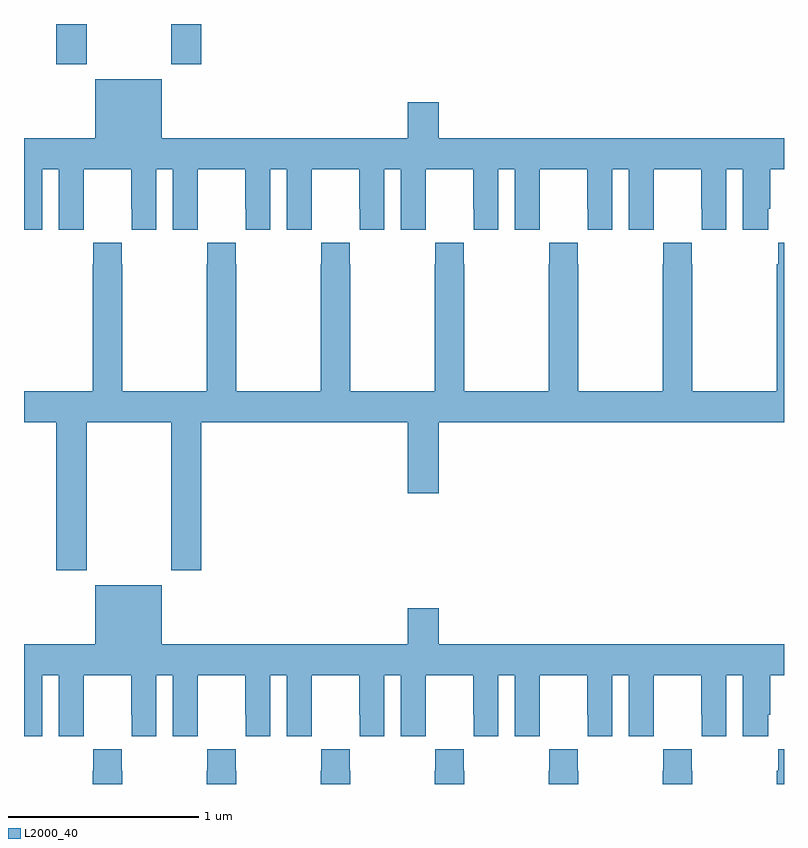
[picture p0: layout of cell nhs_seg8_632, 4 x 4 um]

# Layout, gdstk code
import gdstk
lib = gdstk.Library(unit=1e-6, precision=1e-09)
def R(c, l, rs):  # rectangles x0, y0, x1, y1
    for r in rs: c.add(gdstk.rectangle(r[:2], r[2:], *l))
def P(c, l, *ps):  # polygons
    for p in ps: c.add(gdstk.Polygon(p, *l))
L2000_40 = (2000, 40)

nhs_seg8_632 = lib.new_cell('nhs_seg8_632')
R(nhs_seg8_632, L2000_40, [(151.169,1147.689,151.329,1147.9), (151.774,1147.689,151.934,1147.9)])
P(nhs_seg8_632, L2000_40, [(151,1146.816),(151.096,1146.816),(151.096,1147.136),(151.184,1147.136),(151.184,1146.816),(151.314,1146.816),(151.314,1146.928),(151.315,1146.928),(151.315,1147.136),(151.565,1147.136),(151.565,1146.928),(151.566,1146.928),(151.566,1146.816),(151.696,1146.816),(151.696,1147.136),(151.784,1147.136),(151.784,1146.816),(151.914,1146.816),(151.914,1146.928),(151.915,1146.928),(151.915,1147.136),(152.165,1147.136),(152.165,1146.928),(152.166,1146.928),(152.166,1146.816),(152.296,1146.816),(152.296,1147.136),(152.384,1147.136),(152.384,1146.816),(152.514,1146.816),(152.514,1146.928),(152.515,1146.928),(152.515,1147.136),(152.765,1147.136),(152.765,1146.928),(152.766,1146.928),(152.766,1146.816),(152.896,1146.816),(152.896,1147.136),(152.984,1147.136),(152.984,1146.816),(153.114,1146.816),(153.114,1146.928),(153.115,1146.928),(153.115,1147.136),(153.365,1147.136),(153.365,1146.928),(153.366,1146.928),(153.366,1146.816),(153.496,1146.816),(153.496,1147.136),(153.584,1147.136),(153.584,1146.816),(153.714,1146.816),(153.714,1146.928),(153.715,1146.928),(153.715,1147.136),(153.965,1147.136),(153.965,1146.928),(153.966,1146.928),(153.966,1146.816),(154.096,1146.816),(154.096,1147.136),(154.184,1147.136),(154.184,1146.816),(154.314,1146.816),(154.314,1146.928),(154.315,1146.928),(154.315,1147.136),(154.565,1147.136),(154.565,1146.928),(154.566,1146.928),(154.566,1146.816),(154.696,1146.816),(154.696,1147.136),(154.784,1147.136),(154.784,1146.816),(154.918,1146.816),(154.918,1146.928),(154.928,1146.928),(154.928,1147.136),(155,1147.136),(155,1147.3),(153.184,1147.3),(153.184,1147.489),(153.02,1147.489),(153.02,1147.3),(151.726,1147.3),(151.726,1147.609),(151.376,1147.609),(151.376,1147.3),(151,1147.3)],
  [(153.02,1145.43),(153.184,1145.43),(153.184,1145.804),(155,1145.804),(155,1146.748),(154.969,1146.748),(154.969,1146.635),(154.963,1146.635),(154.963,1145.968),(154.518,1145.968),(154.518,1146.635),(154.515,1146.635),(154.515,1146.748),(154.365,1146.748),(154.365,1146.635),(154.363,1146.635),(154.363,1145.968),(153.918,1145.968),(153.918,1146.635),(153.915,1146.635),(153.915,1146.748),(153.765,1146.748),(153.765,1146.635),(153.763,1146.635),(153.763,1145.968),(153.318,1145.968),(153.318,1146.635),(153.315,1146.635),(153.315,1146.748),(153.165,1146.748),(153.165,1146.635),(153.163,1146.635),(153.163,1145.968),(152.718,1145.968),(152.718,1146.635),(152.715,1146.635),(152.715,1146.748),(152.565,1146.748),(152.565,1146.635),(152.563,1146.635),(152.563,1145.968),(152.118,1145.968),(152.118,1146.635),(152.115,1146.635),(152.115,1146.748),(151.965,1146.748),(151.965,1146.635),(151.963,1146.635),(151.963,1145.968),(151.518,1145.968),(151.518,1146.635),(151.515,1146.635),(151.515,1146.748),(151.365,1146.748),(151.365,1146.635),(151.363,1146.635),(151.363,1145.968),(151,1145.968),(151,1145.804),(151.169,1145.804),(151.169,1145.025),(151.329,1145.025),(151.329,1145.804),(151.774,1145.804),(151.774,1145.025),(151.934,1145.025),(151.934,1145.804),(153.02,1145.804)],
  [(151.726,1144.945),(151.376,1144.945),(151.376,1144.636),(151,1144.636),(151,1144.152),(151.096,1144.152),(151.096,1144.472),(151.184,1144.472),(151.184,1144.152),(151.314,1144.152),(151.314,1144.264),(151.315,1144.264),(151.315,1144.472),(151.565,1144.472),(151.565,1144.264),(151.566,1144.264),(151.566,1144.152),(151.696,1144.152),(151.696,1144.472),(151.784,1144.472),(151.784,1144.152),(151.914,1144.152),(151.914,1144.264),(151.915,1144.264),(151.915,1144.472),(152.165,1144.472),(152.165,1144.264),(152.166,1144.264),(152.166,1144.152),(152.296,1144.152),(152.296,1144.472),(152.384,1144.472),(152.384,1144.152),(152.514,1144.152),(152.514,1144.264),(152.515,1144.264),(152.515,1144.472),(152.765,1144.472),(152.765,1144.264),(152.766,1144.264),(152.766,1144.152),(152.896,1144.152),(152.896,1144.472),(152.984,1144.472),(152.984,1144.152),(153.114,1144.152),(153.114,1144.264),(153.115,1144.264),(153.115,1144.472),(153.365,1144.472),(153.365,1144.264),(153.366,1144.264),(153.366,1144.152),(153.496,1144.152),(153.496,1144.472),(153.584,1144.472),(153.584,1144.152),(153.714,1144.152),(153.714,1144.264),(153.715,1144.264),(153.715,1144.472),(153.965,1144.472),(153.965,1144.264),(153.966,1144.264),(153.966,1144.152),(154.096,1144.152),(154.096,1144.472),(154.184,1144.472),(154.184,1144.152),(154.314,1144.152),(154.314,1144.264),(154.315,1144.264),(154.315,1144.472),(154.565,1144.472),(154.565,1144.264),(154.566,1144.264),(154.566,1144.152),(154.696,1144.152),(154.696,1144.472),(154.784,1144.472),(154.784,1144.152),(154.918,1144.152),(154.918,1144.264),(154.928,1144.264),(154.928,1144.472),(155,1144.472),(155,1144.636),(153.184,1144.636),(153.184,1144.825),(153.02,1144.825),(153.02,1144.636),(151.726,1144.636)],
  [(155,1144.084),(154.969,1144.084),(154.969,1143.971),(154.963,1143.971),(154.963,1143.9),(155,1143.9)],
  [(151.518,1143.971),(151.515,1143.971),(151.515,1144.084),(151.365,1144.084),(151.365,1143.971),(151.363,1143.971),(151.363,1143.9),(151.518,1143.9)],
  [(154.518,1143.971),(154.515,1143.971),(154.515,1144.084),(154.365,1144.084),(154.365,1143.971),(154.363,1143.971),(154.363,1143.9),(154.518,1143.9)],
  [(153.918,1143.971),(153.915,1143.971),(153.915,1144.084),(153.765,1144.084),(153.765,1143.971),(153.763,1143.971),(153.763,1143.9),(153.918,1143.9)],
  [(153.318,1143.971),(153.315,1143.971),(153.315,1144.084),(153.165,1144.084),(153.165,1143.971),(153.163,1143.971),(153.163,1143.9),(153.318,1143.9)],
  [(152.718,1143.971),(152.715,1143.971),(152.715,1144.084),(152.565,1144.084),(152.565,1143.971),(152.563,1143.971),(152.563,1143.9),(152.718,1143.9)],
  [(152.118,1143.971),(152.115,1143.971),(152.115,1144.084),(151.965,1144.084),(151.965,1143.971),(151.963,1143.971),(151.963,1143.9),(152.118,1143.9)])

lib.write_gds('nhs_seg8_632.gds')
